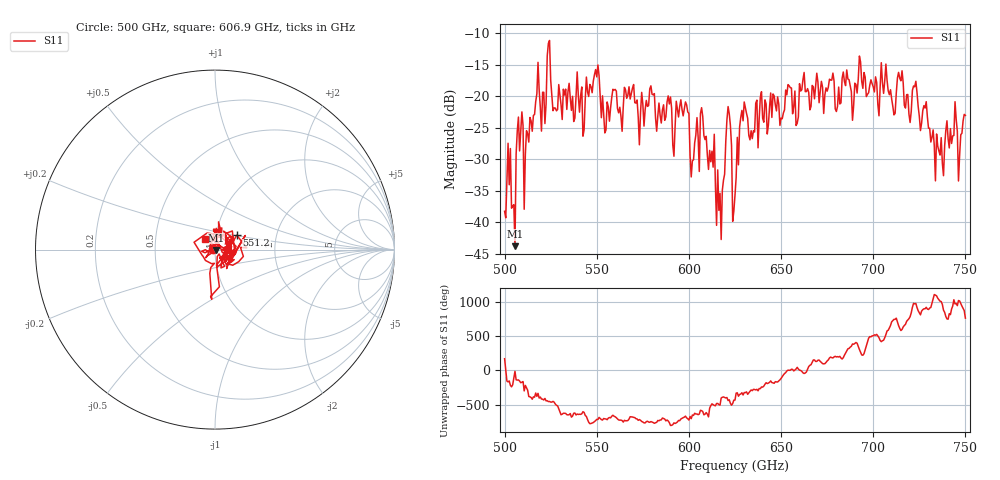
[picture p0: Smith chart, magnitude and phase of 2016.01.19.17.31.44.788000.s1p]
!Created with skrf (http://scikit-rf.org).
# GHz S RI R 50.0
!freq ReS11 ImS11
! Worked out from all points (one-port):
!   401 points, 500 GHz to 750 GHz, reference 50 ohm
!   lowest |S11| = -43.8 dB at 505.6 GHz (marker M1), VSWR 1.01, Z = 50.6 - j0.148 ohm
!   |S11| at or under -10 dB: start of sweep to end of sweep
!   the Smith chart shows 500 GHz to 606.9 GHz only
!   S11 on the Smith chart (normalised r, x): 500 GHz: 0.98, +0.00; 551.2 GHz: 1.26, +0.21; 606.9 GHz: 0.89, +0.11
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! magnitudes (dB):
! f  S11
! 500 GHz  -38.3
! 501.9 GHz  -27.5
! 505.6 GHz  -43.8
! 508.1 GHz  -28.7
! 511.9 GHz  -25.5
! 523.8 GHz  -11.6
! 526.9 GHz  -21.9
! 531.2 GHz  -23.7
! 551.2 GHz  -16.8
! 553.8 GHz  -22.9
! 562.5 GHz  -21.8
! 593.8 GHz  -22.0
! 598.8 GHz  -21.4
! 601.9 GHz  -30.3
! 606.9 GHz  -21.8
! 616.2 GHz  -38.1
! 621.9 GHz  -22.8
! 625 GHz  -35.7
! 629.4 GHz  -23.9
! 633.8 GHz  -25.5
! 656.2 GHz  -22.8
! 687.5 GHz  -18.3
! 711.2 GHz  -23.0
! 714.4 GHz  -17.1
! 718.8 GHz  -19.7
! 722.5 GHz  -18.5
! 736.9 GHz  -26.6
! 750 GHz  -23.0
